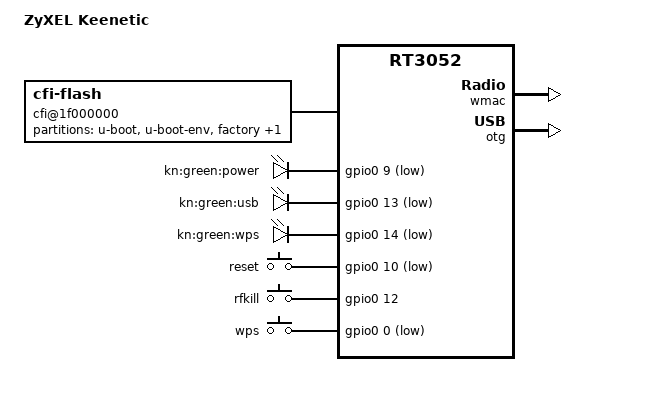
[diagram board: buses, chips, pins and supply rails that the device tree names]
/dts-v1/;

#include "rt3050.dtsi"

#include <dt-bindings/gpio/gpio.h>
#include <dt-bindings/input/input.h>

/ {
	compatible = "zyxel,keenetic", "ralink,rt3052-soc";
	model = "ZyXEL Keenetic";

	aliases {
		led-boot = &led_power;
		led-failsafe = &led_power;
		led-running = &led_power;
		led-upgrade = &led_power;
	};

	cfi@1f000000 {
		compatible = "cfi-flash";
		reg = <0x1f000000 0x800000>;
		bank-width = <2>;
		device-width = <2>;

		partitions {
			compatible = "fixed-partitions";
			#address-cells = <1>;
			#size-cells = <1>;

			partition@0 {
				label = "u-boot";
				reg = <0x0 0x30000>;
				read-only;
			};

			partition@30000 {
				label = "u-boot-env";
				reg = <0x30000 0x10000>;
				read-only;
			};

			factory: partition@40000 {
				label = "factory";
				reg = <0x40000 0x10000>;
				read-only;
			};

			partition@50000 {
				compatible = "denx,uimage";
				label = "firmware";
				reg = <0x50000 0x3b0000>;
			};
		};
	};

	leds {
		compatible = "gpio-leds";

		led_power: power {
			label = "kn:green:power";
			gpios = <&gpio0 9 GPIO_ACTIVE_LOW>;
		};

		usb {
			label = "kn:green:usb";
			gpios = <&gpio0 13 GPIO_ACTIVE_LOW>;
			trigger-sources = <&otg_port1>;
			linux,default-trigger = "usbport";
		};

		wps {
			label = "kn:green:wps";
			gpios = <&gpio0 14 GPIO_ACTIVE_LOW>;
		};
	};

	keys {
		compatible = "gpio-keys-polled";
		poll-interval = <20>;

		reset {
			label = "reset";
			gpios = <&gpio0 10 GPIO_ACTIVE_LOW>;
			linux,code = <KEY_RESTART>;
		};

		rfkill {
			label = "rfkill";
			gpios = <&gpio0 12 GPIO_ACTIVE_HIGH>;
			linux,code = <KEY_RFKILL>;
			linux,input-type = <EV_SW>;
		};

		wps {
			label = "wps";
			gpios = <&gpio0 0 GPIO_ACTIVE_LOW>;
			linux,code = <KEY_WPS_BUTTON>;
		};
	};
};

&state_default {
	gpio {
		ralink,group = "uartf";
		ralink,function = "gpio";
	};
};

&ethernet {
	mtd-mac-address = <&factory 0x28>;
};

&esw {
	mediatek,portmap = <0x2f>;
};

&wmac {
	ralink,mtd-eeprom = <&factory 0>;
};

&otg {
	status = "okay";
};
